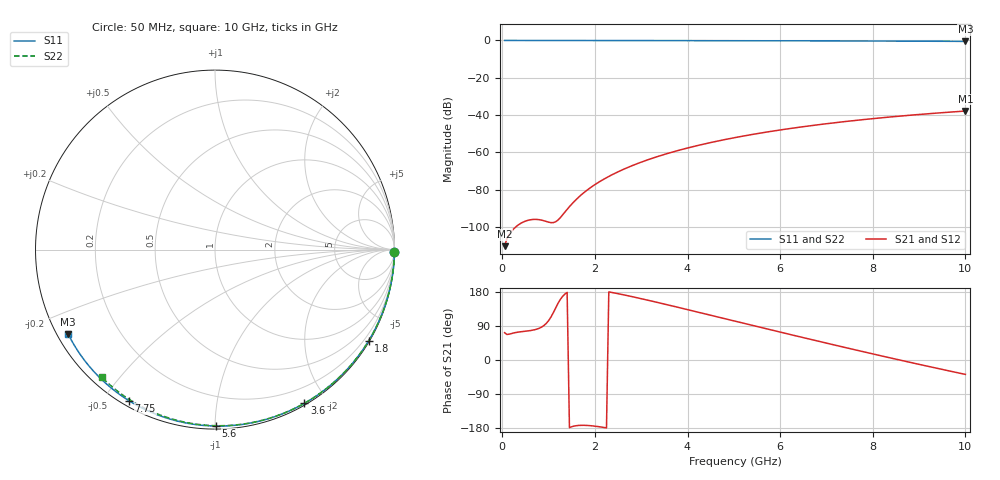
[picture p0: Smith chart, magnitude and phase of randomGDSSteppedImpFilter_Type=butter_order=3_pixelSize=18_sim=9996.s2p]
! freq	dB(S11)	phase(S11)	dB(S12)	phase(S12)
!  dB(S21)	phase(S21)	dB(S22)	phase(S22)
!S-par simulation data
#  GHz  S  DB  R 50
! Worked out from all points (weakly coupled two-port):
!   200 points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, 50 MHz to 10 GHz, reference 50 ohm
!   highest |S21| = -37.84 dB at 10 GHz (marker M1); lowest = -110.3 dB at 50 MHz (marker M2)
!   lowest |S11| = -0.5 dB at 10 GHz (marker M3), VSWR 34.57, Z = 1.55 - j13.3 ohm
!   |S11| at or under -10 dB: nowhere
!   |S22| runs from -0.4 to 0.0 dB; largest |S21 - S12| = 0
!   S11 on the Smith chart (normalised r, x): 50 MHz: open; 1.8 GHz: 0.03, -3.65; 3.6 GHz: 0.02, -1.74; 5.6 GHz: 0.02, -1.00; 7.75 GHz: 0.02, -0.58; 10 GHz: 0.03, -0.27
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0.05  -0.00 -0.9  -110.31 72.0  -110.31 72.0  -0.00 -0.8
0.45  -0.01 -7.8  -97.40 75.3  -97.40 75.3  -0.01 -6.8
0.9  -0.02 -15.5  -96.68 91.1  -96.68 91.1  -0.02 -13.6
1.75  -0.04 -29.8  -81.85 -172.3  -81.85 -172.3  -0.03 -26.2
1.8  -0.04 -30.7  -80.85 -172.5  -80.85 -172.5  -0.03 -26.9
1.85  -0.04 -31.5  -79.90 -172.8  -79.90 -172.8  -0.04 -27.7
2  -0.04 -34.0  -77.30 -174.6  -77.30 -174.6  -0.04 -29.9
2.15  -0.05 -36.5  -75.00 -177.2  -75.00 -177.2  -0.04 -32.1
2.35  -0.05 -39.8  -72.27 178.6  -72.27 178.6  -0.04 -35.0
2.55  -0.05 -43.0  -69.85 173.8  -69.85 173.8  -0.05 -37.8
2.95  -0.06 -49.5  -65.72 163.2  -65.72 163.2  -0.06 -43.6
3.4  -0.07 -56.7  -61.87 150.5  -61.87 150.5  -0.07 -49.9
3.6  -0.08 -59.8  -60.37 144.7  -60.37 144.7  -0.07 -52.7
4.3  -0.10 -70.6  -55.86 124.1  -55.86 124.1  -0.09 -62.3
5.05  -0.12 -81.8  -51.97 101.8  -51.97 101.8  -0.11 -72.2
5.6  -0.15 -89.8  -49.56 85.4  -49.56 85.4  -0.13 -79.3
6.15  -0.17 -97.6  -47.45 69.2  -47.45 69.2  -0.15 -86.3
6.7  -0.20 -105.3  -45.58 53.2  -45.58 53.2  -0.18 -93.1
7.75  -0.28 -119.6  -42.56 23.1  -42.56 23.1  -0.24 -105.7
8.35  -0.33 -127.7  -41.09 6.3  -41.09 6.3  -0.29 -112.7
9.2  -0.41 -139.1  -39.29 -16.9  -39.29 -16.9  -0.36 -122.4
10  -0.50 -150.1  -37.84 -38.0  -37.84 -38.0  -0.44 -131.5
